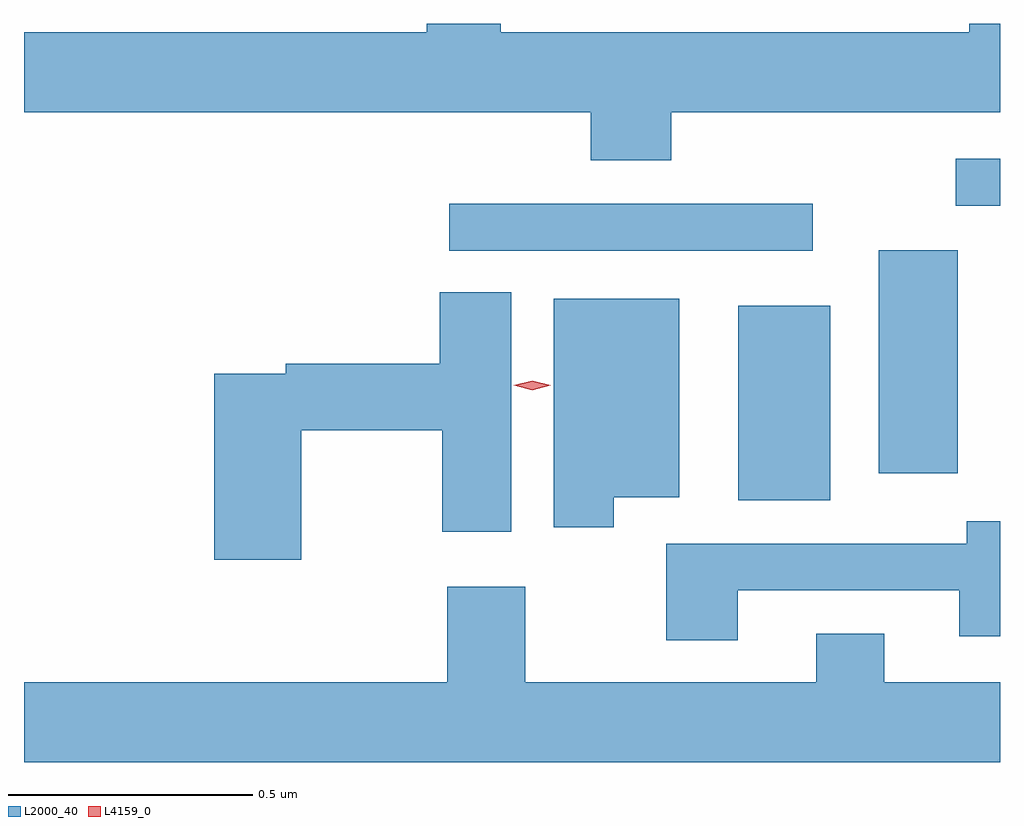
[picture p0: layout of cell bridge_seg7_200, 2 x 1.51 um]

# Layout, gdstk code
import gdstk
lib = gdstk.Library(unit=1e-6, precision=1e-09)
def R(c, l, rs):  # rectangles x0, y0, x1, y1
    for r in rs: c.add(gdstk.rectangle(r[:2], r[2:], *l))
def P(c, l, *ps):  # polygons
    for p in ps: c.add(gdstk.Polygon(p, *l))
L2000_40 = (2000, 40)
L4159_0 = (4159, 0)

bridge_seg7_200 = lib.new_cell('bridge_seg7_200')
R(bridge_seg7_200, L2000_40, [(394.844,1007.813,395.032,1008.211), (395.132,1007.868,395.293,1008.325), (394.251,1008.324,394.996,1008.42), (395.289,1008.416,395.38,1008.513)])
P(bridge_seg7_200, L2000_40, [(394.706,1008.608),(395.38,1008.608),(395.38,1008.789),(395.317,1008.789),(395.317,1008.772),(394.357,1008.772),(394.357,1008.789),(394.205,1008.789),(394.205,1008.772),(393.38,1008.772),(393.38,1008.608),(394.541,1008.608),(394.541,1008.509),(394.706,1008.509)],
  [(393.948,1007.956),(394.237,1007.956),(394.237,1007.748),(394.378,1007.748),(394.378,1008.239),(394.232,1008.239),(394.232,1008.092),(393.916,1008.092),(393.916,1008.072),(393.77,1008.072),(393.77,1007.691),(393.948,1007.691)],
  [(394.588,1007.819),(394.723,1007.819),(394.723,1008.226),(394.466,1008.226),(394.466,1007.757),(394.588,1007.757)],
  [(394.843,1007.628),(395.297,1007.628),(395.297,1007.534),(395.38,1007.534),(395.38,1007.77),(395.312,1007.77),(395.312,1007.724),(394.696,1007.724),(394.696,1007.526),(394.843,1007.526)],
  [(395.38,1007.44),(395.143,1007.44),(395.143,1007.539),(395.003,1007.539),(395.003,1007.44),(394.407,1007.44),(394.407,1007.635),(394.247,1007.635),(394.247,1007.44),(393.38,1007.44),(393.38,1007.276),(395.38,1007.276)])
P(bridge_seg7_200, L4159_0, [(394.421,1008.038),(394.384,1008.048),(394.384,1008.048),(394.384,1008.048),(394.421,1008.058),(394.459,1008.048),(394.459,1008.048),(394.459,1008.048)])

lib.write_gds('bridge_seg7_200.gds')
